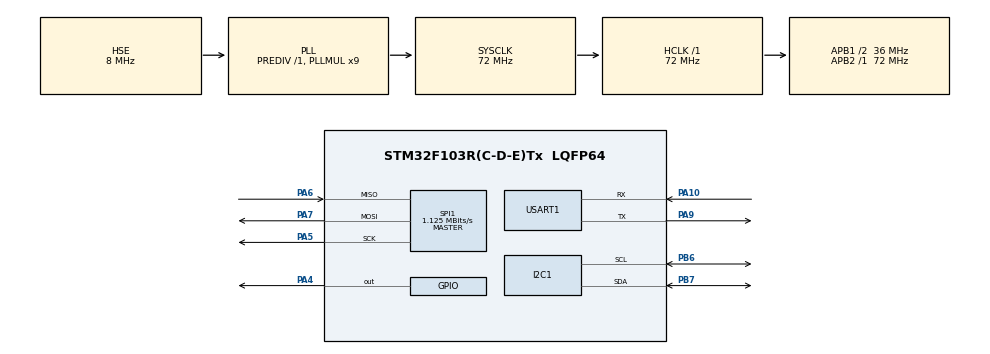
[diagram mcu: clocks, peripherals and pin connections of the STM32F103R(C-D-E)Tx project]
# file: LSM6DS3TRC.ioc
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Mcu.Family=STM32F1
Mcu.Name=STM32F103R(C-D-E)Tx
Mcu.Package=LQFP64
NVIC.PriorityGroup=NVIC_PRIORITYGROUP_4
PA10.Mode=Asynchronous
PA10.Signal=USART1_RX
PA13.Mode=JTAG_5_pins
PA13.Signal=SYS_JTMS-SWDIO
PA14.Mode=JTAG_5_pins
PA14.Signal=SYS_JTCK-SWCLK
PA15.Mode=JTAG_5_pins
PA15.Signal=SYS_JTDI
PA4.GPIO_PuPd=GPIO_PULLUP
PA4.GPIO_Speed=GPIO_SPEED_FREQ_HIGH
PA4.PinState=GPIO_PIN_SET
PA4.Signal=GPIO_Output
PA5.Mode=Full_Duplex_Master
PA5.Signal=SPI1_SCK
PA6.Mode=Full_Duplex_Master
PA6.Signal=SPI1_MISO
PA7.Mode=Full_Duplex_Master
PA7.Signal=SPI1_MOSI
PA9.Mode=Asynchronous
PA9.Signal=USART1_TX
PB3.Mode=JTAG_5_pins
PB3.Signal=SYS_JTDO-TRACESWO
PB4.Mode=JTAG_5_pins
PB4.Signal=SYS_NJTRST
PB6.Mode=I2C
PB6.Signal=I2C1_SCL
PB7.Mode=I2C
PB7.Signal=I2C1_SDA
PC14-OSC32_IN.Mode=LSE-External-Oscillator
PC14-OSC32_IN.Signal=RCC_OSC32_IN
PC15-OSC32_OUT.Mode=LSE-External-Oscillator
PC15-OSC32_OUT.Signal=RCC_OSC32_OUT
PD0-OSC_IN.Mode=HSE-External-Oscillator
PD0-OSC_IN.Signal=RCC_OSC_IN
PD1-OSC_OUT.Mode=HSE-External-Oscillator
PD1-OSC_OUT.Signal=RCC_OSC_OUT
ProjectManager.HeapSize=0x200
ProjectManager.StackSize=0x400
ProjectManager.TargetToolchain=MDK-ARM V5.27
RCC.AHBFreq_Value=72000000
RCC.APB1CLKDivider=RCC_HCLK_DIV2
RCC.APB1Freq_Value=36000000
RCC.APB1TimFreq_Value=72000000
RCC.APB2Freq_Value=72000000
RCC.APB2TimFreq_Value=72000000
RCC.HCLKFreq_Value=72000000
RCC.PLLMUL=RCC_PLL_MUL9
RCC.PLLSourceVirtual=RCC_PLLSOURCE_HSE
RCC.SYSCLKFreq_VALUE=72000000
RCC.SYSCLKSource=RCC_SYSCLKSOURCE_PLLCLK
RCC.USBFreq_Value=72000000
SPI1.BaudRatePrescaler=SPI_BAUDRATEPRESCALER_64
SPI1.CLKPhase=SPI_PHASE_1EDGE
SPI1.CLKPolarity=SPI_POLARITY_LOW
SPI1.CRCCalculation=SPI_CRCCALCULATION_DISABLE
SPI1.CalculateBaudRate=1.125 MBits/s
SPI1.Direction=SPI_DIRECTION_2LINES
SPI1.Mode=SPI_MODE_MASTER
SPI1.VirtualType=VM_MASTER
USART1.VirtualMode=VM_ASYNC
board=custom

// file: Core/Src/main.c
/* USER CODE BEGIN Header */
/**
  ******************************************************************************
  * @file           : main.c
  * @brief          : Main program body
  ******************************************************************************
  * @attention
  *
  * <h2><center>&copy; Copyright (c) 2021 STMicroelectronics.
  * All rights reserved.</center></h2>
  *
  * This software component is licensed by ST under BSD 3-Clause license,
  * the "License"; You may not use this file except in compliance with the
  * License. You may obtain a copy of the License at:
  *                        opensource.org/licenses/BSD-3-Clause
  *
  ******************************************************************************
  */
/* USER CODE END Header */
#include "main.h"

/* USER CODE BEGIN Includes */
#include <stdio.h>
#include "lsm6ds3trc.h"
/* USER CODE END Includes */

I2C_HandleTypeDef hi2c1;

SPI_HandleTypeDef hspi1;

UART_HandleTypeDef huart1;

void SystemClock_Config(void);
static void MX_GPIO_Init(void);
static void MX_I2C1_Init(void);
static void MX_USART1_UART_Init(void);
static void MX_SPI1_Init(void);

int main(void)
{

  /* MCU Configuration--------------------------------------------------------*/

  /* Reset of all peripherals, Initializes the Flash interface and the Systick. */
  HAL_Init();

  /* Configure the system clock */
  SystemClock_Config();

  /* Initialize all configured peripherals */
  MX_GPIO_Init();
  MX_I2C1_Init();
  MX_USART1_UART_Init();
  MX_SPI1_Init();
  /* USER CODE BEGIN 2 */

  //if (LSM6DS3TRC_Init(LSM6DS3TRC_MODE_SPI) == false)
  if (LSM6DS3TRC_Init(LSM6DS3TRC_MODE_I2C) == false)
    printf("LSM6DS3TRC initialize error.\r\n");
  else
    printf("LSM6DS3TRC initialize register finished.\r\n");

  /* USER CODE END 2 */

  /* Infinite loop */
  /* USER CODE BEGIN WHILE */
  while (1)
  {
    uint8_t status;
    status = LSM6DS3TRC_Get_Status();

    if (status & LSM6DS3TRC_STATUS_ACCELEROMETER)
    {
      float acc[3] = {0};
      LSM6DS3TRC_Get_Acceleration(LSM6DS3TRC_ACC_FSXL_2G, acc);
      printf("\r\nacc:X:%2f,\tY:%2f,\tZ:%2f\r\n", acc[0], acc[1], acc[2]);
    }
    if (status & LSM6DS3TRC_STATUS_GYROSCOPE)
    {
      float gyr[3] = {0};
      LSM6DS3TRC_Get_Gyroscope(LSM6DS3TRC_GYR_FSG_2000, gyr);
      printf("\r\ngry:X:%4.2f,\tY:%4.2f,\tZ:%4.2f\r\n", gyr[0], gyr[1], gyr[2]);
    }
    if (status & LSM6DS3TRC_STATUS_TEMPERATURE)
    {
      printf("\r\ntemp:%2f\r\n", LSM6DS3TRC_Get_Temperature());
    }
    HAL_Delay(100);
    /* USER CODE END WHILE */

  }
}

void SystemClock_Config(void)
{
  RCC_OscInitTypeDef RCC_OscInitStruct = {0};
  RCC_ClkInitTypeDef RCC_ClkInitStruct = {0};

  /** Initializes the RCC Oscillators according to the specified parameters
  * in the RCC_OscInitTypeDef structure.
  */
  RCC_OscInitStruct.OscillatorType = RCC_OSCILLATORTYPE_HSE;
  RCC_OscInitStruct.HSEState = RCC_HSE_ON;
  RCC_OscInitStruct.HSEPredivValue = RCC_HSE_PREDIV_DIV1;
  RCC_OscInitStruct.HSIState = RCC_HSI_ON;
  RCC_OscInitStruct.PLL.PLLState = RCC_PLL_ON;
  RCC_OscInitStruct.PLL.PLLSource = RCC_PLLSOURCE_HSE;
  RCC_OscInitStruct.PLL.PLLMUL = RCC_PLL_MUL9;
  if (HAL_RCC_OscConfig(&RCC_OscInitStruct) != HAL_OK)
  {
    Error_Handler();
  }
  /** Initializes the CPU, AHB and APB buses clocks
  */
  RCC_ClkInitStruct.ClockType = RCC_CLOCKTYPE_HCLK | RCC_CLOCKTYPE_SYSCLK | RCC_CLOCKTYPE_PCLK1 | RCC_CLOCKTYPE_PCLK2;
  RCC_ClkInitStruct.SYSCLKSource = RCC_SYSCLKSOURCE_PLLCLK;
  RCC_ClkInitStruct.AHBCLKDivider = RCC_SYSCLK_DIV1;
  RCC_ClkInitStruct.APB1CLKDivider = RCC_HCLK_DIV2;
  RCC_ClkInitStruct.APB2CLKDivider = RCC_HCLK_DIV1;

  if (HAL_RCC_ClockConfig(&RCC_ClkInitStruct, FLASH_LATENCY_2) != HAL_OK)
  {
    Error_Handler();
  }
}

static void MX_I2C1_Init(void)
{

  hi2c1.Instance = I2C1;
  hi2c1.Init.ClockSpeed = 100000;
  hi2c1.Init.DutyCycle = I2C_DUTYCYCLE_2;
  hi2c1.Init.OwnAddress1 = 0;
  hi2c1.Init.AddressingMode = I2C_ADDRESSINGMODE_7BIT;
  hi2c1.Init.DualAddressMode = I2C_DUALADDRESS_DISABLE;
  hi2c1.Init.OwnAddress2 = 0;
  hi2c1.Init.GeneralCallMode = I2C_GENERALCALL_DISABLE;
  hi2c1.Init.NoStretchMode = I2C_NOSTRETCH_DISABLE;
  if (HAL_I2C_Init(&hi2c1) != HAL_OK)
  {
    Error_Handler();
  }
}

static void MX_SPI1_Init(void)
{

  /* SPI1 parameter configuration*/
  hspi1.Instance = SPI1;
  hspi1.Init.Mode = SPI_MODE_MASTER;
  hspi1.Init.Direction = SPI_DIRECTION_2LINES;
  hspi1.Init.DataSize = SPI_DATASIZE_8BIT;
  hspi1.Init.CLKPolarity = SPI_POLARITY_LOW;
  hspi1.Init.CLKPhase = SPI_PHASE_1EDGE;
  hspi1.Init.NSS = SPI_NSS_SOFT;
  hspi1.Init.BaudRatePrescaler = SPI_BAUDRATEPRESCALER_64;
  hspi1.Init.FirstBit = SPI_FIRSTBIT_MSB;
  hspi1.Init.TIMode = SPI_TIMODE_DISABLE;
  hspi1.Init.CRCCalculation = SPI_CRCCALCULATION_DISABLE;
  hspi1.Init.CRCPolynomial = 10;
  if (HAL_SPI_Init(&hspi1) != HAL_OK)
  {
    Error_Handler();
  }
}

static void MX_USART1_UART_Init(void)
{

  huart1.Instance = USART1;
  huart1.Init.BaudRate = 115200;
  huart1.Init.WordLength = UART_WORDLENGTH_8B;
  huart1.Init.StopBits = UART_STOPBITS_1;
  huart1.Init.Parity = UART_PARITY_NONE;
  huart1.Init.Mode = UART_MODE_TX_RX;
  huart1.Init.HwFlowCtl = UART_HWCONTROL_NONE;
  huart1.Init.OverSampling = UART_OVERSAMPLING_16;
  if (HAL_UART_Init(&huart1) != HAL_OK)
  {
    Error_Handler();
  }
}

static void MX_GPIO_Init(void)
{
  GPIO_InitTypeDef GPIO_InitStruct = {0};

  /* GPIO Ports Clock Enable */
  __HAL_RCC_GPIOC_CLK_ENABLE();
  __HAL_RCC_GPIOD_CLK_ENABLE();
  __HAL_RCC_GPIOA_CLK_ENABLE();
  __HAL_RCC_GPIOB_CLK_ENABLE();

  /*Configure GPIO pin Output Level */
  HAL_GPIO_WritePin(GPIOA, GPIO_PIN_4, GPIO_PIN_SET);

  /*Configure GPIO pin : PA4 */
  GPIO_InitStruct.Pin = GPIO_PIN_4;
  GPIO_InitStruct.Mode = GPIO_MODE_OUTPUT_PP;
  GPIO_InitStruct.Pull = GPIO_PULLUP;
  GPIO_InitStruct.Speed = GPIO_SPEED_FREQ_HIGH;
  HAL_GPIO_Init(GPIOA, &GPIO_InitStruct);
}

void Error_Handler(void)
{
  __disable_irq();
  while (1)
  {
  }
}

/************************ (C) COPYRIGHT STMicroelectronics *****END OF FILE****/
